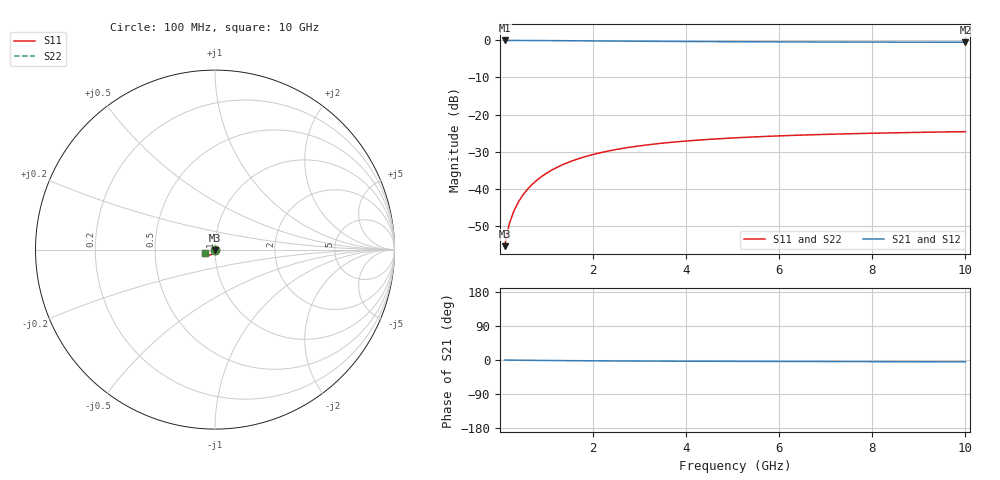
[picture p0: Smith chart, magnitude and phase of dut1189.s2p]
! Touchstone file exported from HFSS 2024.1.0
!  File:  C:/UserFiles/LocalFiles/RDL_TSV_Batchsim/temp_TSV1_1189_1780075420.aedt
!  Generated:  01:29:21 AM May 30, 2026
!  Design:  TSV1
!  Project:  temp_TSV1_1189_1780075420
!  Setup:  Setup1
!  Solution:  Sweep
! Variables:
!  dtsv = 14.37um
!  hbump = 3um
!  htsv = 72.82um
!  lrdl = 252.1521522um
!  p = 40
!  p1 = 48.02um
!  t = 500um
!  trdl = 3um
!  wrdl = 24.89489489um
# GHz S MA R 50.000000
! Terminal data exported
! Port[1] = TSV22_T1
! Port[2] = TSV22_T2
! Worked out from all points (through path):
!   100 points, 100 MHz to 10 GHz, reference 50 ohm
!   highest |S21| = 0.00 dB at 100 MHz (marker M1); lowest = -0.5 dB at 10 GHz (marker M2)
!   lowest |S11| = -55.5 dB at 100 MHz (marker M3), VSWR 1.00, Z = 50 - j0.167 ohm
!   |S11| at or under -10 dB: start of sweep to end of sweep
!   |S22| runs from -55.5 to -24.6 dB; largest |S21 - S12| = 3e-15
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0.1  0.001672 -88.9  0.9999 -0.1  0.9999 -0.1  0.001672 -88.9
! Gamma 0 0 0 0
! Port Impedance 50 0 50 0
0.2  0.003344 -91.8  0.9997 -0.3  0.9997 -0.3  0.003344 -91.8
0.3  0.005014 -93.8  0.9994 -0.4  0.9994 -0.4  0.005014 -93.8
0.4  0.006675 -95.7  0.9991 -0.5  0.9991 -0.5  0.006675 -95.7
0.5  0.008319 -97.5  0.9986 -0.7  0.9986 -0.7  0.008319 -97.5
0.6  0.009943 -99.2  0.9981 -0.8  0.9981 -0.8  0.009943 -99.2
0.7  0.01154 -100.9  0.9975 -0.9  0.9975 -0.9  0.01154 -100.9
0.8  0.01311 -102.6  0.9969 -1.0  0.9969 -1.0  0.01311 -102.6
0.9  0.01464 -104.2  0.9961 -1.1  0.9961 -1.1  0.01464 -104.2
1.1  0.0176 -107.3  0.9945 -1.4  0.9945 -1.4  0.0176 -107.3
1.4  0.02174 -111.7  0.9918 -1.7  0.9918 -1.7  0.02174 -111.7
1.6  0.02429 -114.4  0.9898 -1.9  0.9898 -1.9  0.02429 -114.4
1.8  0.02667 -117.0  0.9878 -2.0  0.9878 -2.0  0.02667 -117.0
2.1  0.02993 -120.6  0.9847 -2.2  0.9847 -2.2  0.02993 -120.6
2.5  0.03375 -124.9  0.9807 -2.5  0.9807 -2.5  0.03375 -124.9
2.9  0.03702 -128.7  0.9769 -2.7  0.9769 -2.7  0.03702 -128.7
3.4  0.04048 -132.9  0.9726 -3.0  0.9726 -3.0  0.04048 -132.9
4.2  0.04488 -138.3  0.9667 -3.3  0.9667 -3.3  0.04488 -138.3
5.1  0.04863 -143.2  0.9613 -3.6  0.9613 -3.6  0.04863 -143.2
6.7  0.05331 -149.8  0.9542 -4.0  0.9542 -4.0  0.05331 -149.8
8.4  0.05659 -154.9  0.9489 -4.5  0.9489 -4.5  0.05659 -154.9
10  0.05872 -158.6  0.9454 -4.9  0.9454 -4.9  0.05872 -158.6
